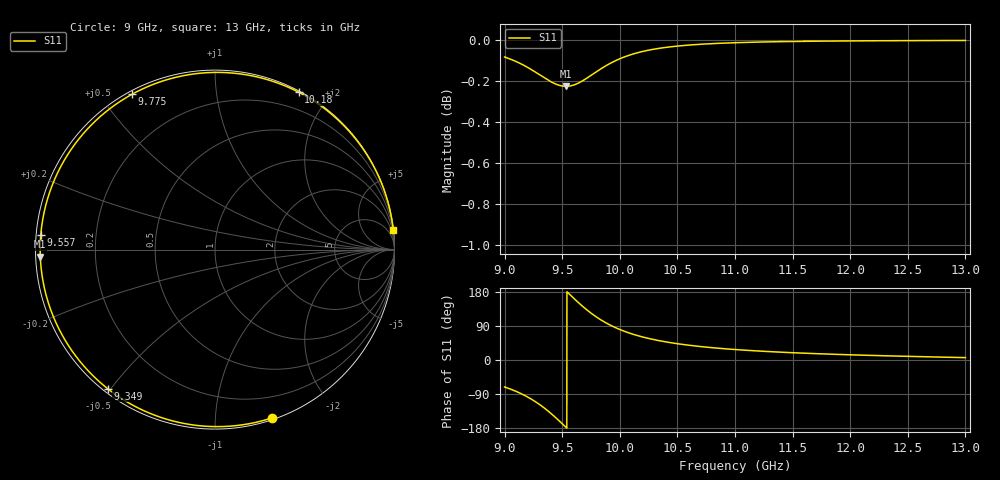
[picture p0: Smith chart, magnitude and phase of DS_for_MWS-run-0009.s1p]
! TOUCHSTONE file generated by CST DESIGN STUDIO
! Date and time: Tue Feb  4 17:21:32 2025
! Project name: C:\Work\MatlabApps\UnitCellOptimizationMatlab\CST\unitcell.cst
! Tree item: Tasks\Sweep1\SPara1\S-Parameters
! Header version: 2024
! Port assignment regex: !\s*Touchstone port\s*([0-9]+)\s*=\s*(CST MWS port|CST DES external port|CST DES block port)\s*(.+)\s* \(\"(.*)\"\)(\s*mode\s*([0-9]+))?.*
! Touchstone port assignment:
! Touchstone port 1 = CST DES external port 1 ("")
# GHz S MA R 50
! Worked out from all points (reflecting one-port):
!   4001 points, 9 GHz to 13 GHz, reference 50 ohm
!   lowest |S11| = -0.2 dB at 9.533 GHz (marker M1), VSWR 76.40, Z = 0.655 - j1.01 ohm
!   phase of S11 starts at -71 deg and turns -283 deg over the sweep
!   S11 on the Smith chart (normalised r, x): 9 GHz: 0.01, -1.40; 9.349 GHz: 0.01, -0.49; 9.557 GHz: 0.01, +0.04; 9.775 GHz: 0.01, +0.60; 10.18 GHz: 0.01, +1.66; 13 GHz: 0, +18
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9  0.9902 -71.2
9.098  0.9878 -82.5
9.206  0.9843 -98.7
9.281  0.9814 -112.7
9.349  0.9786 -127.7
9.421  0.976 -145.9
9.462  0.975 -157.2
9.5  0.9743 -168.1
9.533  0.9742 -177.7
9.557  0.9743 175.3
9.612  0.9751 159.4
9.673  0.977 142.7
9.724  0.979 129.8
9.775  0.9812 118.2
9.823  0.9832 108.3
9.875  0.9853 98.8
9.933  0.9873 89.6
10  0.9893 80.5
10.087  0.9914 70.7
10.182  0.9931 62.0
10.327  0.9949 51.9
10.5  0.9963 43.0
10.721  0.9974 34.8
11  0.9982 27.6
11.5  0.9989 19.2
12  0.9992 13.7
12.5  0.9994 9.6
13  0.9995 6.3
